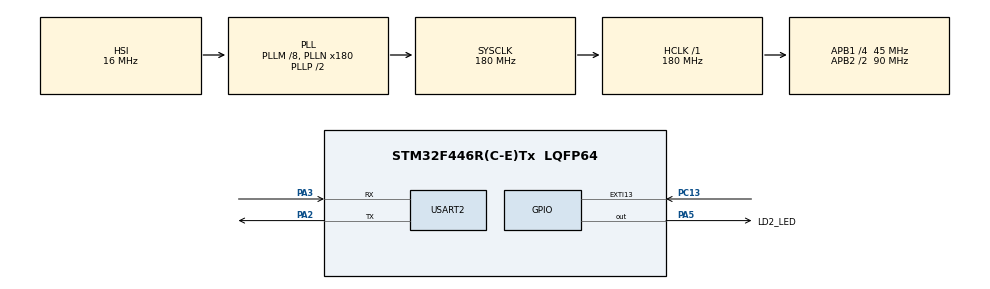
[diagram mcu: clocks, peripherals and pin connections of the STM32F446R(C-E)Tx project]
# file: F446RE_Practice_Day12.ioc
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FREERTOS.Tasks01=defaultTask,24,128,StartDefaultTask,Default,NULL,Dynamic,NULL,NULL
FREERTOS.configUSE_NEWLIB_REENTRANT=1
Mcu.Family=STM32F4
Mcu.Name=STM32F446R(C-E)Tx
Mcu.Package=LQFP64
NVIC.EXTI15_10_IRQn=true\:5\:0\:false\:false\:true\:true\:true\:true\:true
NVIC.PriorityGroup=NVIC_PRIORITYGROUP_4
NVIC.TIM6_DAC_IRQn=true\:15\:0\:false\:false\:true\:false\:false\:true\:true
NVIC.TimeBase=TIM6_DAC_IRQn
NVIC.TimeBaseIP=TIM6
PA13.Mode=Serial_Wire
PA13.Signal=SYS_JTMS-SWDIO
PA14.Mode=Serial_Wire
PA14.Signal=SYS_JTCK-SWCLK
PA2.Mode=Asynchronous
PA2.Signal=USART2_TX
PA3.Mode=Asynchronous
PA3.Signal=USART2_RX
PA5.GPIO_Label=LD2_LED
PA5.Signal=GPIO_Output
PC13.GPIO_ModeDefaultEXTI=GPIO_MODE_IT_FALLING
PC13.Signal=GPXTI13
ProjectManager.HeapSize=0x200
ProjectManager.StackSize=0x400
ProjectManager.TargetToolchain=STM32CubeIDE
RCC.AHBFreq_Value=180000000
RCC.APB1CLKDivider=RCC_HCLK_DIV4
RCC.APB1Freq_Value=45000000
RCC.APB1TimFreq_Value=90000000
RCC.APB2CLKDivider=RCC_HCLK_DIV2
RCC.APB2Freq_Value=90000000
RCC.APB2TimFreq_Value=180000000
RCC.CortexFreq_Value=180000000
RCC.HCLKFreq_Value=180000000
RCC.PLLM=8
RCC.PLLN=180
RCC.SYSCLKFreq_VALUE=180000000
RCC.SYSCLKSource=RCC_SYSCLKSOURCE_PLLCLK
RCC.USBFreq_Value=180000000
RCC.VCOOutputFreq_Value=360000000
USART2.VirtualMode=VM_ASYNC
VP_FREERTOS_VS_CMSIS_V2.Mode=CMSIS_V2
VP_SYS_VS_tim6.Mode=TIM6
board=custom

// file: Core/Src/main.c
/* USER CODE BEGIN Header */
/**
  ******************************************************************************
  * @file           : main.c
  * @brief          : Main program body
  ******************************************************************************
  * @attention
  *
  * Copyright (c) 2026 STMicroelectronics.
  * All rights reserved.
  *
  * This software is licensed under terms that can be found in the LICENSE file
  * in the root directory of this software component.
  * If no LICENSE file comes with this software, it is provided AS-IS.
  *
  ******************************************************************************
  */
/* USER CODE END Header */
#include "main.h"
#include "cmsis_os.h"

/* USER CODE BEGIN Includes */

#include "FreeRTOS.h"
#include "task.h"

/* USER CODE END Includes */

UART_HandleTypeDef huart2;

/* Definitions for defaultTask */
osThreadId_t defaultTaskHandle;
const osThreadAttr_t defaultTask_attributes = {
  .name = "defaultTask",
  .stack_size = 128 * 4,
  .priority = (osPriority_t) osPriorityNormal,
};

void SystemClock_Config(void);
static void MX_GPIO_Init(void);
static void MX_USART2_UART_Init(void);
void StartDefaultTask(void *argument);

/* USER CODE BEGIN PFP */

extern void App_FreeRTOS_Init(void);

extern TaskHandle_t eventTaskHandle;
extern volatile uint32_t button_isr_cycle;

/* USER CODE END PFP */

/* USER CODE BEGIN 0 */

static void DWT_CycleCounter_Init(void)
{
    CoreDebug->DEMCR |=
        CoreDebug_DEMCR_TRCENA_Msk;

    DWT->CYCCNT = 0U;

    DWT->CTRL |=
        DWT_CTRL_CYCCNTENA_Msk;
}

/* USER CODE END 0 */

int main(void)
{

  /* MCU Configuration--------------------------------------------------------*/

  /* Reset of all peripherals, Initializes the Flash interface and the Systick. */
  HAL_Init();

  /* Configure the system clock */
  SystemClock_Config();

  /* Initialize all configured peripherals */
  MX_GPIO_Init();
  MX_USART2_UART_Init();
  /* USER CODE BEGIN 2 */

  DWT_CycleCounter_Init();

  /* USER CODE END 2 */

  /* Init scheduler */
  osKernelInitialize();

  /* Create the thread(s) */
  /* creation of defaultTask */
  defaultTaskHandle = osThreadNew(StartDefaultTask, NULL, &defaultTask_attributes);

  /* USER CODE BEGIN RTOS_THREADS */
  /* add threads, ... */

  App_FreeRTOS_Init();

  /* USER CODE END RTOS_THREADS */

  /* Start scheduler */
  osKernelStart();

  /* We should never get here as control is now taken by the scheduler */

  /* Infinite loop */
  while (1)
  {

  }
}

void SystemClock_Config(void)
{
  RCC_OscInitTypeDef RCC_OscInitStruct = {0};
  RCC_ClkInitTypeDef RCC_ClkInitStruct = {0};

  /** Configure the main internal regulator output voltage
  */
  __HAL_RCC_PWR_CLK_ENABLE();
  __HAL_PWR_VOLTAGESCALING_CONFIG(PWR_REGULATOR_VOLTAGE_SCALE1);

  /** Initializes the RCC Oscillators according to the specified parameters
  * in the RCC_OscInitTypeDef structure.
  */
  RCC_OscInitStruct.OscillatorType = RCC_OSCILLATORTYPE_HSI;
  RCC_OscInitStruct.HSIState = RCC_HSI_ON;
  RCC_OscInitStruct.HSICalibrationValue = RCC_HSICALIBRATION_DEFAULT;
  RCC_OscInitStruct.PLL.PLLState = RCC_PLL_ON;
  RCC_OscInitStruct.PLL.PLLSource = RCC_PLLSOURCE_HSI;
  RCC_OscInitStruct.PLL.PLLM = 8;
  RCC_OscInitStruct.PLL.PLLN = 180;
  RCC_OscInitStruct.PLL.PLLP = RCC_PLLP_DIV2;
  RCC_OscInitStruct.PLL.PLLQ = 2;
  RCC_OscInitStruct.PLL.PLLR = 2;
  if (HAL_RCC_OscConfig(&RCC_OscInitStruct) != HAL_OK)
  {
    Error_Handler();
  }

  /** Activate the Over-Drive mode
  */
  if (HAL_PWREx_EnableOverDrive() != HAL_OK)
  {
    Error_Handler();
  }

  /** Initializes the CPU, AHB and APB buses clocks
  */
  RCC_ClkInitStruct.ClockType = RCC_CLOCKTYPE_HCLK|RCC_CLOCKTYPE_SYSCLK
                              |RCC_CLOCKTYPE_PCLK1|RCC_CLOCKTYPE_PCLK2;
  RCC_ClkInitStruct.SYSCLKSource = RCC_SYSCLKSOURCE_PLLCLK;
  RCC_ClkInitStruct.AHBCLKDivider = RCC_SYSCLK_DIV1;
  RCC_ClkInitStruct.APB1CLKDivider = RCC_HCLK_DIV4;
  RCC_ClkInitStruct.APB2CLKDivider = RCC_HCLK_DIV2;

  if (HAL_RCC_ClockConfig(&RCC_ClkInitStruct, FLASH_LATENCY_5) != HAL_OK)
  {
    Error_Handler();
  }
}

static void MX_USART2_UART_Init(void)
{

  huart2.Instance = USART2;
  huart2.Init.BaudRate = 115200;
  huart2.Init.WordLength = UART_WORDLENGTH_8B;
  huart2.Init.StopBits = UART_STOPBITS_1;
  huart2.Init.Parity = UART_PARITY_NONE;
  huart2.Init.Mode = UART_MODE_TX_RX;
  huart2.Init.HwFlowCtl = UART_HWCONTROL_NONE;
  huart2.Init.OverSampling = UART_OVERSAMPLING_16;
  if (HAL_UART_Init(&huart2) != HAL_OK)
  {
    Error_Handler();
  }

}

static void MX_GPIO_Init(void)
{
  GPIO_InitTypeDef GPIO_InitStruct = {0};

  /* GPIO Ports Clock Enable */
  __HAL_RCC_GPIOC_CLK_ENABLE();
  __HAL_RCC_GPIOA_CLK_ENABLE();

  /*Configure GPIO pin Output Level */
  HAL_GPIO_WritePin(LD2_LED_GPIO_Port, LD2_LED_Pin, GPIO_PIN_RESET);

  /*Configure GPIO pin : PC13 */
  GPIO_InitStruct.Pin = GPIO_PIN_13;
  GPIO_InitStruct.Mode = GPIO_MODE_IT_FALLING;
  GPIO_InitStruct.Pull = GPIO_NOPULL;
  HAL_GPIO_Init(GPIOC, &GPIO_InitStruct);

  /*Configure GPIO pin : LD2_LED_Pin */
  GPIO_InitStruct.Pin = LD2_LED_Pin;
  GPIO_InitStruct.Mode = GPIO_MODE_OUTPUT_PP;
  GPIO_InitStruct.Pull = GPIO_NOPULL;
  GPIO_InitStruct.Speed = GPIO_SPEED_FREQ_LOW;
  HAL_GPIO_Init(LD2_LED_GPIO_Port, &GPIO_InitStruct);

  /* EXTI interrupt init*/
  HAL_NVIC_SetPriority(EXTI15_10_IRQn, 5, 0);
  HAL_NVIC_EnableIRQ(EXTI15_10_IRQn);

}

/* USER CODE BEGIN 4 */

void HAL_GPIO_EXTI_Callback(uint16_t GPIO_Pin)
{
    if (GPIO_Pin == GPIO_PIN_13)
    {
        static uint32_t last_button_tick = 0U;

        uint32_t now = HAL_GetTick();

        if ((uint32_t)(now - last_button_tick) >= 200U)
        {
            last_button_tick = now;

            /*
             * 避免 Task 尚未建立時誤觸按鍵。
             */
            if (eventTaskHandle != NULL)
            {
                BaseType_t higher_priority_task_woken =
                    pdFALSE;

                button_isr_cycle = DWT->CYCCNT;

                vTaskNotifyGiveFromISR(
                    eventTaskHandle,
                    &higher_priority_task_woken);

                portYIELD_FROM_ISR(
                    higher_priority_task_woken);
            }
        }
    }
}

/* USER CODE END 4 */

void StartDefaultTask(void *argument)
{
  for(;;)
  {
    osDelay(1);
  }
}

void HAL_TIM_PeriodElapsedCallback(TIM_HandleTypeDef *htim)
{
  if (htim->Instance == TIM6)
  {
    HAL_IncTick();
  }
}

void Error_Handler(void)
{
  __disable_irq();
  while (1)
  {
  }
}

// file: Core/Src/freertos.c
/* USER CODE BEGIN Header */
/**
  ******************************************************************************
  * File Name          : freertos.c
  * Description        : Code for freertos applications
  ******************************************************************************
  * @attention
  *
  * Copyright (c) 2026 STMicroelectronics.
  * All rights reserved.
  *
  * This software is licensed under terms that can be found in the LICENSE file
  * in the root directory of this software component.
  * If no LICENSE file comes with this software, it is provided AS-IS.
  *
  ******************************************************************************
  */
/* USER CODE END Header */

#include "FreeRTOS.h"
#include "task.h"
#include "main.h"

/* USER CODE BEGIN Includes */

#include <stdio.h>

extern UART_HandleTypeDef huart2;

/* USER CODE END Includes */

/* USER CODE BEGIN Variables */

TaskHandle_t eventTaskHandle = NULL;

volatile uint32_t button_isr_cycle = 0U;
volatile uint32_t event_count = 0U;
volatile uint32_t notification_batch = 0U;

volatile uint32_t wake_latency_cycles = 0U;
volatile uint32_t wake_latency_us = 0U;

/* USER CODE END Variables */

/* USER CODE BEGIN Application */

static void EventTask(void *argument)
{
    (void)argument;

    char message[96];

    for (;;)
    {
        /*
         * Task 沒有事件時進入 Blocked 狀態。
         *
         * pdTRUE：
         * 讀取後把 Notification Count 清成 0。
         */
        uint32_t received_count =
            ulTaskNotifyTake(
                pdTRUE,
                portMAX_DELAY);

        uint32_t task_cycle = DWT->CYCCNT;

        wake_latency_cycles =
            task_cycle - button_isr_cycle;

        wake_latency_us =
            wake_latency_cycles /
            (SystemCoreClock / 1000000U);

        notification_batch = received_count;
        event_count += received_count;

        HAL_GPIO_TogglePin(
            GPIOA,
            GPIO_PIN_5);

        int length = snprintf(
            message,
            sizeof(message),
            "event=%lu, batch=%lu, latency=%lu us\r\n",
            (unsigned long)event_count,
            (unsigned long)notification_batch,
            (unsigned long)wake_latency_us);

        if (length > 0)
        {
            HAL_UART_Transmit(
                &huart2,
                (uint8_t *)message,
                (uint16_t)length,
                100U);
        }
    }
}

void App_FreeRTOS_Init(void)
{
    BaseType_t result = xTaskCreate(
        EventTask,
        "EventTask",
        256U,
        NULL,
        tskIDLE_PRIORITY + 3U,
        &eventTaskHandle);

    configASSERT(result == pdPASS);
    configASSERT(eventTaskHandle != NULL);
}

/* USER CODE END Application */
